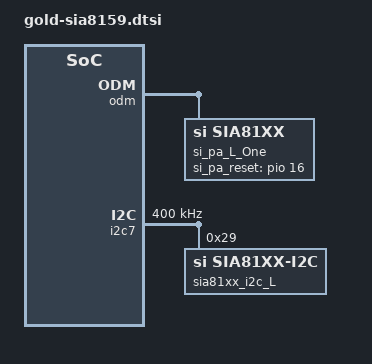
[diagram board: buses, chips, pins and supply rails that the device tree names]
/* Copyright (c) 2018, The Linux Foundation. All rights reserved.
 *
 * This program is free software; you can redistribute it and/or modify
 * it under the terms of the GNU General Public License version 2 and
 * only version 2 as published by the Free Software Foundation.
 *
 * This program is distributed in the hope that it will be useful,
 * but WITHOUT ANY WARRANTY; without even the implied warranty of
 * MERCHANTABILITY or FITNESS FOR A PARTICULAR PURPOSE.  See the
 * GNU General Public License for more details.
 */

&pio {
	sia81xx_gpio_L_ONE: sia81xx_gpio_L_ONE {
		pins_cmd_dat {
			pinmux = <PINMUX_GPIO16__FUNC_GPIO16>;
			slew-rate = <1>;
			bias-disable;
		};
	};
};

&odm {
	si_pa_L_One: si_pa@L_One {
		compatible = "si,sia81xx";
		si,si_pa_type = "sia81x9";
		si,si_pa_reset = <&pio 16 0>;
		pinctrl-names = "si_pa_gpio";
		pinctrl-0 = <&sia81xx_gpio_L_ONE>;
		si,si_pa_disable_pin = <1>;
		/* the same value share a same task
		 * valid value range : 0 ~ 7 */
		timer_task_hdl = <0>;
		channel_num = <0>;
		owi_mode = <1>;
	};
};

&sound {
	si,sia81xx-max-num = <1>;
	si,sia81xx-aux-devs = <&si_pa_L_One>;
	si,sia81xx-aux-devs-prefix = "SpkrLeft";
};

/* N17 code for HQ-295628 by xuqingli at 2023/5/09 start */
&i2c7 {
	#address-cells = <1>;
	#size-cells = <0>;
	clock-frequency = <400000>;
	mediatek,use-open-drain;
	sia81xx_i2c_L: sia81xx_i2c@L {
		compatible = "si,sia81xx-i2c";
		reg = <0x29>;
		si,sipa-dev = <&si_pa_L_One>;
	};
};
/* N17 code for HQ-295628 by xuqingli at 2023/5/09 end */
